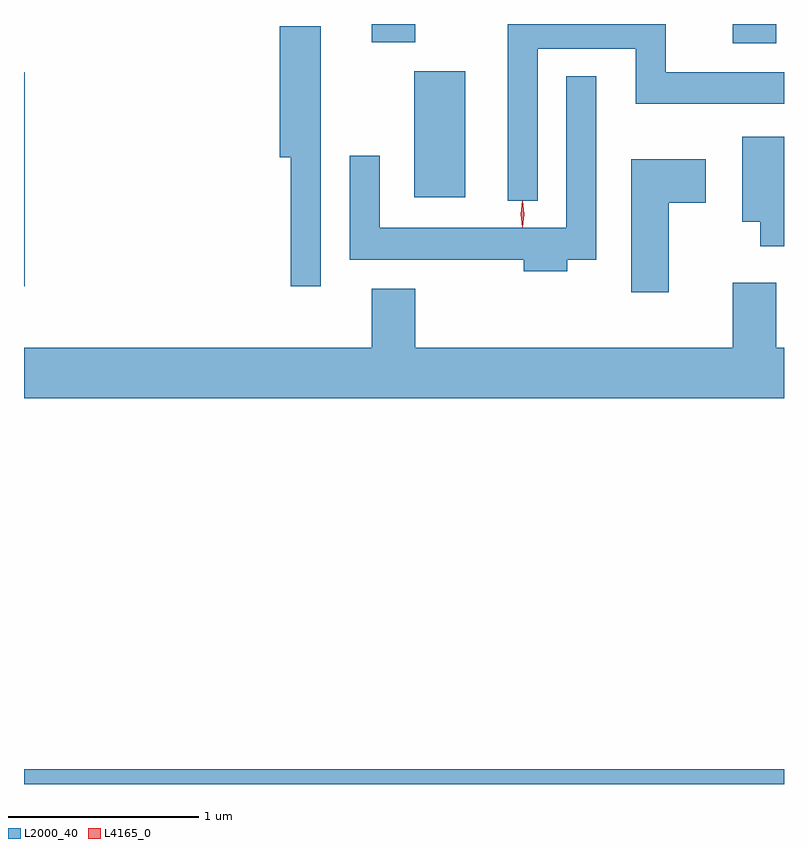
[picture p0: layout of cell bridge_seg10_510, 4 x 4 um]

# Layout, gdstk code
import gdstk
lib = gdstk.Library(unit=1e-6, precision=1e-09)
def R(c, l, rs):  # rectangles x0, y0, x1, y1
    for r in rs: c.add(gdstk.rectangle(r[:2], r[2:], *l))
def P(c, l, *ps):  # polygons
    for p in ps: c.add(gdstk.Polygon(p, *l))
L2000_40 = (2000, 40)
L4165_0 = (4165, 0)

bridge_seg10_510 = lib.new_cell('bridge_seg10_510')
R(bridge_seg10_510, L2000_40, [(767.101,2154.067,771.101,2154.144), (767.101,2156.688,767.104,2157.814), (769.156,2157.156,769.424,2157.819), (770.831,2157.966,771.059,2158.067), (768.931,2157.971,769.159,2158.067)])
P(bridge_seg10_510, L2000_40, [(769.804,2157.936),(770.321,2157.936),(770.321,2157.646),(771.101,2157.646),(771.101,2157.814),(770.479,2157.814),(770.479,2158.067),(769.646,2158.067),(769.646,2157.138),(769.804,2157.138)],
  [(768.664,2158.054),(768.446,2158.054),(768.446,2157.366),(768.506,2157.366),(768.506,2156.688),(768.664,2156.688)],
  [(769.959,2156.826),(770.114,2156.826),(770.114,2157.793),(769.956,2157.793),(769.956,2156.994),(768.974,2156.994),(768.974,2157.373),(768.816,2157.373),(768.816,2156.826),(769.731,2156.826),(769.731,2156.766),(769.959,2156.766)],
  [(771.101,2157.474),(770.881,2157.474),(770.881,2157.026),(770.976,2157.026),(770.976,2156.896),(771.101,2156.896)],
  [(770.494,2157.126),(770.689,2157.126),(770.689,2157.354),(770.296,2157.354),(770.296,2156.656),(770.494,2156.656)],
  [(771.101,2156.364),(771.059,2156.364),(771.059,2156.704),(770.831,2156.704),(770.831,2156.364),(769.159,2156.364),(769.159,2156.674),(768.931,2156.674),(768.931,2156.364),(767.101,2156.364),(767.101,2156.096),(771.101,2156.096)])
P(bridge_seg10_510, L4165_0, [(769.724,2156.997),(769.715,2157.066),(769.724,2157.136),(769.725,2157.136),(769.725,2157.136),(769.735,2157.066),(769.725,2156.997),(769.725,2156.997)])

lib.write_gds('bridge_seg10_510.gds')
